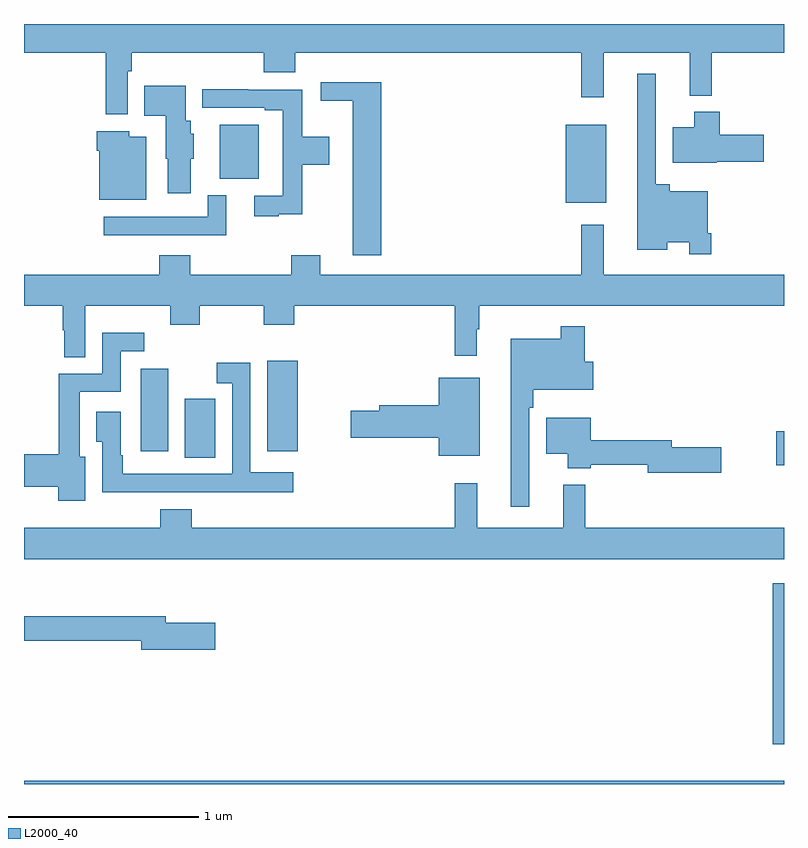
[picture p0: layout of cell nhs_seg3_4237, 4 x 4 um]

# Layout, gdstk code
import gdstk
lib = gdstk.Library(unit=1e-6, precision=1e-09)
def R(c, l, rs):  # rectangles x0, y0, x1, y1
    for r in rs: c.add(gdstk.rectangle(r[:2], r[2:], *l))
def P(c, l, *ps):  # polygons
    for p in ps: c.add(gdstk.Polygon(p, *l))
L2000_40 = (2000, 40)

nhs_seg3_4237 = lib.new_cell('nhs_seg3_4237')
R(nhs_seg3_4237, L2000_40, [(335,698.4,339,698.416), (338.941,698.61,339,699.457), (338.958,700.078,339,700.256), (335.846,700.117,336.007,700.428), (335.615,700.151,335.758,700.585), (336.281,700.152,336.442,700.627), (337.85,701.459,338.065,701.869), (336.029,701.585,336.235,701.869)])
P(nhs_seg3_4237, L2000_40, [(337.933,702.015),(338.051,702.015),(338.051,702.248),(338.504,702.248),(338.504,702.023),(338.621,702.023),(338.621,702.248),(339,702.248),(339,702.4),(335,702.4),(335,702.248),(335.431,702.248),(335.431,701.925),(335.547,701.925),(335.547,702.152),(335.567,702.152),(335.567,702.248),(336.263,702.248),(336.263,702.146),(336.428,702.146),(336.428,702.248),(337.933,702.248)],
  [(338.618,701.299),(338.598,701.299),(338.598,701.521),(338.399,701.521),(338.399,701.557),(338.325,701.557),(338.325,702.139),(338.228,702.139),(338.228,701.213),(338.386,701.213),(338.386,701.252),(338.502,701.252),(338.502,701.187),(338.618,701.187)],
  [(336.881,702.094),(336.561,702.094),(336.561,701.996),(336.731,701.996),(336.731,701.184),(336.881,701.184)],
  [(335.878,701.691),(335.893,701.691),(335.893,701.823),(335.878,701.823),(335.878,701.892),(335.851,701.892),(335.851,702.076),(335.632,702.076),(335.632,701.918),(335.747,701.918),(335.747,701.691),(335.756,701.691),(335.756,701.508),(335.878,701.508)],
  [(336.341,701.399),(336.464,701.399),(336.464,701.659),(336.607,701.659),(336.607,701.806),(336.464,701.806),(336.464,702.054),(336.179,702.054),(336.179,702.056),(335.937,702.056),(335.937,701.958),(336.266,701.958),(336.266,701.946),(336.363,701.946),(336.363,701.496),(336.213,701.496),(336.213,701.388),(336.341,701.388)],
  [(338.646,701.675),(338.893,701.675),(338.893,701.817),(338.663,701.817),(338.663,701.938),(338.528,701.938),(338.528,701.857),(338.414,701.857),(338.414,701.669),(338.646,701.669)],
  [(335.644,701.806),(335.554,701.806),(335.554,701.836),(335.384,701.836),(335.384,701.732),(335.396,701.732),(335.396,701.474),(335.644,701.474)],
  [(336.064,701.5),(335.967,701.5),(335.967,701.385),(335.421,701.385),(335.421,701.289),(336.064,701.289)],
  [(335.876,701.182),(335.711,701.182),(335.711,701.08),(335,701.08),(335,700.916),(335.205,700.916),(335.205,700.788),(335.212,700.788),(335.212,700.645),(335.323,700.645),(335.323,700.916),(335.77,700.916),(335.77,700.817),(335.925,700.817),(335.925,700.916),(336.262,700.916),(336.262,700.817),(336.422,700.817),(336.422,700.916),(337.267,700.916),(337.267,700.653),(337.384,700.653),(337.384,700.793),(337.396,700.793),(337.396,700.916),(339,700.916),(339,701.08),(338.05,701.08),(338.05,701.344),(337.933,701.344),(337.933,701.08),(336.559,701.08),(336.559,701.182),(336.407,701.182),(336.407,701.08),(335.876,701.08)],
  [(337.659,700.379),(337.679,700.379),(337.679,700.475),(337.996,700.475),(337.996,700.623),(337.952,700.623),(337.952,700.81),(337.824,700.81),(337.824,700.744),(337.562,700.744),(337.562,699.858),(337.659,699.858)],
  [(335.323,700.123),(335.293,700.123),(335.293,700.464),(335.508,700.464),(335.508,700.677),(335.632,700.677),(335.632,700.774),(335.412,700.774),(335.412,700.56),(335.182,700.56),(335.182,700.136),(335,700.136),(335,699.965),(335.18,699.965),(335.18,699.891),(335.323,699.891)],
  [(335.633,699.936),(335.999,699.936),(335.999,699.935),(336.418,699.935),(336.418,700.042),(336.192,700.042),(336.192,700.618),(336.015,700.618),(336.015,700.509),(336.096,700.509),(336.096,700.032),(335.521,700.032),(335.521,700.129),(335.508,700.129),(335.508,700.36),(335.381,700.36),(335.381,700.201),(335.412,700.201),(335.412,699.935),(335.633,699.935)],
  [(337.399,700.537),(337.184,700.537),(337.184,700.394),(336.869,700.394),(336.869,700.364),(336.72,700.364),(336.72,700.222),(337.184,700.222),(337.184,700.127),(337.399,700.127)],
  [(338.671,700.172),(338.41,700.172),(338.41,700.208),(337.984,700.208),(337.984,700.327),(337.748,700.327),(337.748,700.139),(337.862,700.139),(337.862,700.061),(337.984,700.061),(337.984,700.08),(338.282,700.08),(338.282,700.037),(338.671,700.037)],
  [(339,699.748),(337.955,699.748),(337.955,699.976),(337.838,699.976),(337.838,699.748),(337.385,699.748),(337.385,699.982),(337.267,699.982),(337.267,699.748),(335.882,699.748),(335.882,699.847),(335.717,699.847),(335.717,699.748),(335,699.748),(335,699.584),(339,699.584)],
  [(336.007,699.249),(335.746,699.249),(335.746,699.283),(335,699.283),(335,699.154),(335.618,699.154),(335.618,699.107),(336.007,699.107)])

lib.write_gds('nhs_seg3_4237.gds')
